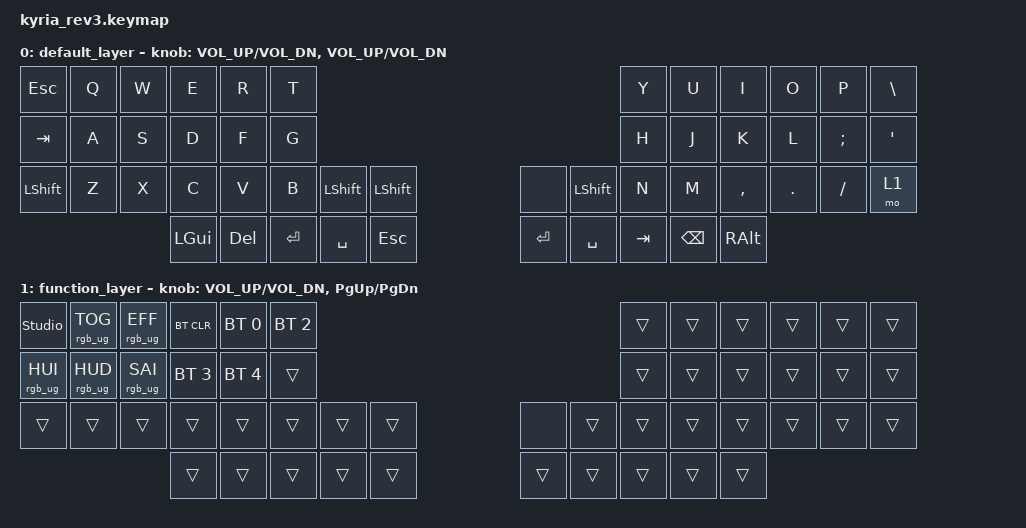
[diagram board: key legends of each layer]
/*
 * Copyright (c) 2023 The ZMK Contributors
 *
 * SPDX-License-Identifier: MIT
 */

#include <behaviors.dtsi>
#include <dt-bindings/zmk/bt.h>
#include <dt-bindings/zmk/ext_power.h>
#include <dt-bindings/zmk/keys.h>
#include <dt-bindings/zmk/outputs.h>
#include <dt-bindings/zmk/rgb.h>

&led_strip {
    chain-length = <31>; // 25 per-key SK6812 + 6 underglow WS2812B
};

&caps_word { continue-list = <UNDERSCORE MINUS>; };

&sensors {
    compatible = "zmk,keymap-sensors";
    sensors = <&right_encoder>;
    triggers-per-rotation = <20>;
};

&right_encoder {
    status = "okay";
};

/ {
    keymap {
        compatible = "zmk,keymap";

        default_layer {
            // ---------------------------------------------------------------------------------------------------------------------------------
            // |  ESC  |  Q  |  W  |  E   |  R   |  T   |                                          |  Y   |  U    |  I    |  O   |   P   |   \  |
            // |  TAB  |  A  |  S  |  D   |  F   |  G   |                                          |  H   |  J    |  K    |  L   |   ;   |   '  |
            // | SHIFT |  Z  |  X  |  C   |  V   |  B   | L SHIFT | L SHIFT |  | LAYER 1 | L SHIFT |  N   |  M    |  ,    |  .   |   /   | CTRL |
            //                     | GUI  | DEL  | RET  |  SPACE  |   ESC   |  |   RET   |  SPACE  | TAB  | BSPC  | R-ALT |
            bindings = <
            &kp ESC   &kp Q &kp W &kp E &kp R &kp T                                                  &kp Y &kp U  &kp I     &kp O   &kp P    &kp BSLH
            &kp TAB   &kp A &kp S &kp D &kp F &kp G                                                  &kp H &kp J  &kp K     &kp L   &kp SEMI &kp SQT
            &kp LSHFT &kp Z &kp X &kp C &kp V &kp B &kp LSHFT &kp LSHFT            &none   &kp LSHFT &kp N &kp M  &kp COMMA &kp DOT &kp FSLH &mo 1
                                  &kp LGUI &kp DEL &kp RET &kp SPACE &kp ESC       &kp RET &kp SPACE &kp TAB &kp BSPC &kp RALT
            >;

            sensor-bindings = <&inc_dec_kp C_VOL_UP C_VOL_DN &inc_dec_kp C_VOL_UP C_VOL_DN>;
        };
        function_layer {
            // ---------------------------------------------------------------------------------------------------------------------------------
            // |       |      |BT_CLR|BTSEL0|BTSEL1|BTSEL2|                                         |      |      |      |      |      |      |
            // |       |      |      |BTSEL3|BTSEL4|      |                                         |      |      |      |      |      |      |
            // |       |      |      |      |      |      |      |      |      |      |      |      |      |      |      |      |      |      |
            //                       |      |      |      |      |      |      |      |      |      |      |      |      |
            bindings = <
            &studio_unlock &rgb_ug RGB_TOG &rgb_ug RGB_EFF &bt BT_CLR &bt BT_SEL 0 &bt BT_SEL 2         &trans &trans &trans &trans &trans &trans
            &rgb_ug RGB_HUI &rgb_ug RGB_HUD &rgb_ug RGB_SAI &bt BT_SEL 3 &bt BT_SEL 4 &trans       &trans &trans &trans &trans &trans &trans
            &trans &trans &trans &trans &trans &trans &trans &trans        &none &trans &trans &trans &trans &trans &trans &trans
                                 &trans &trans &trans &trans &trans        &trans &trans &trans &trans &trans
            >;

            sensor-bindings = <&inc_dec_kp C_VOL_UP C_VOL_DN &inc_dec_kp PG_UP PG_DN>;
        };
    };
};

